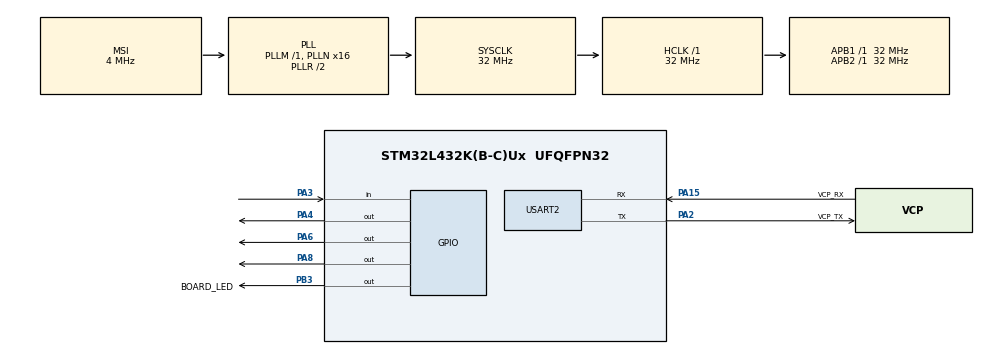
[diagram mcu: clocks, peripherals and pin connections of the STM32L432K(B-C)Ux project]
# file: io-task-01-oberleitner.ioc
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Mcu.Family=STM32L4
Mcu.Name=STM32L432K(B-C)Ux
Mcu.Package=UFQFPN32
NVIC.PriorityGroup=NVIC_PRIORITYGROUP_4
PA0.GPIO_Label=MCO [High speed clock in]
PA0.Mode=HSE-External-Clock-Source-for-LittleOrca
PA0.Signal=RCC_CK_IN
PA13\ (JTMS-SWDIO).GPIO_Label=SWDIO
PA13\ (JTMS-SWDIO).Mode=Serial_Wire
PA13\ (JTMS-SWDIO).Signal=SYS_JTMS-SWDIO
PA14\ (JTCK-SWCLK).GPIO_Label=SWCLK
PA14\ (JTCK-SWCLK).Mode=Serial_Wire
PA14\ (JTCK-SWCLK).Signal=SYS_JTCK-SWCLK
PA15\ (JTDI).GPIO_Label=VCP_RX
PA15\ (JTDI).Mode=Asynchronous
PA15\ (JTDI).Signal=USART2_RX
PA2.GPIO_Label=VCP_TX
PA2.Mode=Asynchronous
PA2.Signal=USART2_TX
PA3.Signal=GPIO_Input
PA4.Signal=GPIO_Output
PA6.Signal=GPIO_Output
PA8.Signal=GPIO_Output
PB3\ (JTDO-TRACESWO).GPIO_Label=BOARD_LED
PB3\ (JTDO-TRACESWO).Signal=GPIO_Output
PC14-OSC32_IN\ (PC14).Mode=LSE-External-Oscillator
PC14-OSC32_IN\ (PC14).Signal=RCC_OSC32_IN
PC15-OSC32_OUT\ (PC15).Mode=LSE-External-Oscillator
PC15-OSC32_OUT\ (PC15).Signal=RCC_OSC32_OUT
ProjectManager.HeapSize=0x200
ProjectManager.StackSize=0x400
ProjectManager.TargetToolchain=STM32CubeIDE
RCC.AHBFreq_Value=32000000
RCC.APB1Freq_Value=32000000
RCC.APB1TimFreq_Value=32000000
RCC.APB2Freq_Value=32000000
RCC.APB2TimFreq_Value=32000000
RCC.CortexFreq_Value=32000000
RCC.HCLKFreq_Value=32000000
RCC.HSE_VALUE=8000000
RCC.HSI16_VALUE=16000000
RCC.HSI48_VALUE=48000000
RCC.HSI_VALUE=16000000
RCC.MSI_VALUE=4000000
RCC.PLLMUL=RCC_PLLMUL_4
RCC.PLLN=16
RCC.SYSCLKFreq_VALUE=32000000
RCC.SYSCLKSource=RCC_SYSCLKSOURCE_PLLCLK
RCC.VCOOutputFreq_Value=64000000
USART2.VirtualMode-Asynchronous=VM_ASYNC
board=NUCLEO-L432KC

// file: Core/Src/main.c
/* USER CODE BEGIN Header */
/**
  ******************************************************************************
  * @file           : main.c
  * @brief          : Main program body
  ******************************************************************************
  * @attention
  *
  * Copyright (c) 2023 STMicroelectronics.
  * All rights reserved.
  *
  * This software is licensed under terms that can be found in the LICENSE file
  * in the root directory of this software component.
  * If no LICENSE file comes with this software, it is provided AS-IS.
  *
  ******************************************************************************
  */
/* USER CODE END Header */
#include "main.h"

/* USER CODE BEGIN PM */
#define DEBOUNCE 5 			// number of cycles for debouncing
#define SECOND 800000		// number of cycles for turning off/on led
							// ...found by trial & error
/* USER CODE END PM */

UART_HandleTypeDef huart2;

void SystemClock_Config(void);
static void MX_GPIO_Init(void);
static void MX_USART2_UART_Init(void);
void blinky(int brightness, int led);
int buttoncheck (int button_long_flag, int *call_brightness, int *call_led);

int main(void)
{

  /* MCU Configuration--------------------------------------------------------*/

  /* Reset of all peripherals, Initializes the Flash interface and the Systick. */
  HAL_Init();

  /* Configure the system clock */
  SystemClock_Config();

  /* Initialize all configured peripherals */
  MX_GPIO_Init();
  MX_USART2_UART_Init();
  /* USER CODE BEGIN 2 */
  int button_long_flag = 0; 			// flag set if button has been pressed > 1 second
  int brightness[] = {1, 2, 3};			// brightness parameter for blinky function
  int led[] = {0, 1, 2};					// parameter for green/red/blue led
  int call_brightness = 0; 				// index for brightness array
  int call_led = 0; 					// index for led array
  HAL_GPIO_WritePin(GPIOA, GPIO_PIN_8, GPIO_PIN_SET);	// turning off all the leds
  HAL_GPIO_WritePin(GPIOA, GPIO_PIN_6, GPIO_PIN_SET);
  HAL_GPIO_WritePin(GPIOA, GPIO_PIN_4, GPIO_PIN_SET);
  /* USER CODE END 2 */

  /* Infinite loop */
  /* USER CODE BEGIN WHILE */
  while (1)
  {
	  button_long_flag = buttoncheck(button_long_flag, &call_brightness, &call_led);

	  if (button_long_flag == 0) {								// blinky is only called if button hasn't been pressed long, turning the leds off
		  blinky(brightness[call_brightness], led[call_led]);
	  }

    /* USER CODE END WHILE */

  }
}

void SystemClock_Config(void)
{
  RCC_OscInitTypeDef RCC_OscInitStruct = {0};
  RCC_ClkInitTypeDef RCC_ClkInitStruct = {0};

  /** Configure the main internal regulator output voltage
  */
  if (HAL_PWREx_ControlVoltageScaling(PWR_REGULATOR_VOLTAGE_SCALE1) != HAL_OK)
  {
    Error_Handler();
  }

  /** Configure LSE Drive Capability
  */
  HAL_PWR_EnableBkUpAccess();
  __HAL_RCC_LSEDRIVE_CONFIG(RCC_LSEDRIVE_LOW);

  /** Initializes the RCC Oscillators according to the specified parameters
  * in the RCC_OscInitTypeDef structure.
  */
  RCC_OscInitStruct.OscillatorType = RCC_OSCILLATORTYPE_LSE|RCC_OSCILLATORTYPE_MSI;
  RCC_OscInitStruct.LSEState = RCC_LSE_ON;
  RCC_OscInitStruct.MSIState = RCC_MSI_ON;
  RCC_OscInitStruct.MSICalibrationValue = 0;
  RCC_OscInitStruct.MSIClockRange = RCC_MSIRANGE_6;
  RCC_OscInitStruct.PLL.PLLState = RCC_PLL_ON;
  RCC_OscInitStruct.PLL.PLLSource = RCC_PLLSOURCE_MSI;
  RCC_OscInitStruct.PLL.PLLM = 1;
  RCC_OscInitStruct.PLL.PLLN = 16;
  RCC_OscInitStruct.PLL.PLLP = RCC_PLLP_DIV7;
  RCC_OscInitStruct.PLL.PLLQ = RCC_PLLQ_DIV2;
  RCC_OscInitStruct.PLL.PLLR = RCC_PLLR_DIV2;
  if (HAL_RCC_OscConfig(&RCC_OscInitStruct) != HAL_OK)
  {
    Error_Handler();
  }

  /** Initializes the CPU, AHB and APB buses clocks
  */
  RCC_ClkInitStruct.ClockType = RCC_CLOCKTYPE_HCLK|RCC_CLOCKTYPE_SYSCLK
                              |RCC_CLOCKTYPE_PCLK1|RCC_CLOCKTYPE_PCLK2;
  RCC_ClkInitStruct.SYSCLKSource = RCC_SYSCLKSOURCE_PLLCLK;
  RCC_ClkInitStruct.AHBCLKDivider = RCC_SYSCLK_DIV1;
  RCC_ClkInitStruct.APB1CLKDivider = RCC_HCLK_DIV1;
  RCC_ClkInitStruct.APB2CLKDivider = RCC_HCLK_DIV1;

  if (HAL_RCC_ClockConfig(&RCC_ClkInitStruct, FLASH_LATENCY_1) != HAL_OK)
  {
    Error_Handler();
  }

  /** Enable MSI Auto calibration
  */
  HAL_RCCEx_EnableMSIPLLMode();
}

static void MX_USART2_UART_Init(void)
{

  huart2.Instance = USART2;
  huart2.Init.BaudRate = 115200;
  huart2.Init.WordLength = UART_WORDLENGTH_8B;
  huart2.Init.StopBits = UART_STOPBITS_1;
  huart2.Init.Parity = UART_PARITY_NONE;
  huart2.Init.Mode = UART_MODE_TX_RX;
  huart2.Init.HwFlowCtl = UART_HWCONTROL_NONE;
  huart2.Init.OverSampling = UART_OVERSAMPLING_16;
  huart2.Init.OneBitSampling = UART_ONE_BIT_SAMPLE_DISABLE;
  huart2.AdvancedInit.AdvFeatureInit = UART_ADVFEATURE_NO_INIT;
  if (HAL_UART_Init(&huart2) != HAL_OK)
  {
    Error_Handler();
  }

}

static void MX_GPIO_Init(void)
{
  GPIO_InitTypeDef GPIO_InitStruct = {0};

  /* GPIO Ports Clock Enable */
  __HAL_RCC_GPIOC_CLK_ENABLE();
  __HAL_RCC_GPIOA_CLK_ENABLE();
  __HAL_RCC_GPIOB_CLK_ENABLE();

  /*Configure GPIO pin Output Level */
  HAL_GPIO_WritePin(GPIOA, GPIO_PIN_4|GPIO_PIN_6|GPIO_PIN_8, GPIO_PIN_RESET);

  /*Configure GPIO pin Output Level */
  HAL_GPIO_WritePin(BOARD_LED_GPIO_Port, BOARD_LED_Pin, GPIO_PIN_RESET);

  /*Configure GPIO pin : PA3 */
  GPIO_InitStruct.Pin = GPIO_PIN_3;
  GPIO_InitStruct.Mode = GPIO_MODE_INPUT;
  GPIO_InitStruct.Pull = GPIO_NOPULL;
  HAL_GPIO_Init(GPIOA, &GPIO_InitStruct);

  /*Configure GPIO pins : PA4 PA6 PA8 */
  GPIO_InitStruct.Pin = GPIO_PIN_4|GPIO_PIN_6|GPIO_PIN_8;
  GPIO_InitStruct.Mode = GPIO_MODE_OUTPUT_PP;
  GPIO_InitStruct.Pull = GPIO_NOPULL;
  GPIO_InitStruct.Speed = GPIO_SPEED_FREQ_LOW;
  HAL_GPIO_Init(GPIOA, &GPIO_InitStruct);

  /*Configure GPIO pin : BOARD_LED_Pin */
  GPIO_InitStruct.Pin = BOARD_LED_Pin;
  GPIO_InitStruct.Mode = GPIO_MODE_OUTPUT_PP;
  GPIO_InitStruct.Pull = GPIO_NOPULL;
  GPIO_InitStruct.Speed = GPIO_SPEED_FREQ_LOW;
  HAL_GPIO_Init(BOARD_LED_GPIO_Port, &GPIO_InitStruct);

}

/* USER CODE BEGIN 4 */
/**
 * @brief this function makes the selected led blink once for a given time period.
 * @param brightness Time period in ms during which led is on.
 * @param led Value (0/1/2) selects one of three leds.
 * @retval none
 */
void blinky(int brightness, int led) {
	switch (led) {
	case 0:
		  HAL_GPIO_WritePin(GPIOA, GPIO_PIN_8, GPIO_PIN_RESET);
		  HAL_Delay(brightness);
		  HAL_GPIO_WritePin(GPIOA, GPIO_PIN_8, GPIO_PIN_SET);
		  HAL_Delay(10-brightness);
		break;
	case 1:
		  HAL_GPIO_WritePin(GPIOA, GPIO_PIN_6, GPIO_PIN_RESET);
		  HAL_Delay(brightness);
		  HAL_GPIO_WritePin(GPIOA, GPIO_PIN_6, GPIO_PIN_SET);
		  HAL_Delay(10-brightness);
		break;
	case 2:
		  HAL_GPIO_WritePin(GPIOA, GPIO_PIN_4, GPIO_PIN_RESET);
		  HAL_Delay(brightness);
		  HAL_GPIO_WritePin(GPIOA, GPIO_PIN_4, GPIO_PIN_SET);
		  HAL_Delay(10-brightness);
		break;
	default:
		  HAL_GPIO_WritePin(GPIOA, GPIO_PIN_8, GPIO_PIN_RESET);
		  HAL_Delay(brightness);
		  HAL_GPIO_WritePin(GPIOA, GPIO_PIN_8, GPIO_PIN_SET);
		  HAL_Delay(10-brightness);
		break;
	}
}

/**
 * @brief In this function, a short button press changes the variables for the
 * blinky function, a long button press sets the button_long_flag, which
 * deactivates the blinky function, effectively turning off the leds.
 * @param button_long_flag Set to 0: blinky is called, set to 1: blinky is not called in main.
 * @param *call_brightness Pointer to the index variable for the brightness array in main.
 * @param *call_led Pointer to the index variable for the led array in main.
 * @retval button_long_flag Set to 0: blinky is called, set to 1: blinky is not called in main.
 */
int buttoncheck (int button_long_flag, int *call_brightness, int *call_led) {
	GPIO_PinState button;				// state of the button for debouncing
	int counter_long = 0; 				// counter for long press
	int counter = 0; 					// counter for debouncing
	int bool = 0; 						// bool set if button has been pressed

	button = HAL_GPIO_ReadPin(GPIOA, GPIO_PIN_3);		// if button is pressed long enough,
	  while(button == 0) {								// bool is set to 1
		  counter++;
		  if(counter > DEBOUNCE) {
			  bool = 1;
			  counter = 0;
			  break;
			  }
		  }

	  while (HAL_GPIO_ReadPin(GPIOA, GPIO_PIN_3) == 0) {	// if button is pressed long enough,
		  counter_long++;									// leds are turned off and flag is set (blinky isn't called in main)
		  if (counter_long > SECOND) {
			  if (button_long_flag == 0) {
				  button_long_flag = 1;
				  HAL_GPIO_WritePin(GPIOA, GPIO_PIN_8, GPIO_PIN_SET);
				  HAL_GPIO_WritePin(GPIOA, GPIO_PIN_6, GPIO_PIN_SET);
				  HAL_GPIO_WritePin(GPIOA, GPIO_PIN_4, GPIO_PIN_SET);
				  counter_long = 0;
				  break;
			  } else if (button_long_flag == 1) {			// if leds are turned off and button is pressed long enough
				  button_long_flag = 0;						// flag is set to 0, blinky is called again in main
				  counter_long = 0;
				  break;
			  }
		  }
	  }

	  if (bool == 1)										// index variables for brightness and led are changed
	  {
		  *call_brightness = (*call_brightness + 1)%3;
		  if (*call_brightness == 0) {
			  *call_led = (*call_led + 1)%3;
		  }
		  bool = 0;
	  }
	  return button_long_flag;
}
/* USER CODE END 4 */

void Error_Handler(void)
{
  __disable_irq();
  while (1)
  {
  }
}
